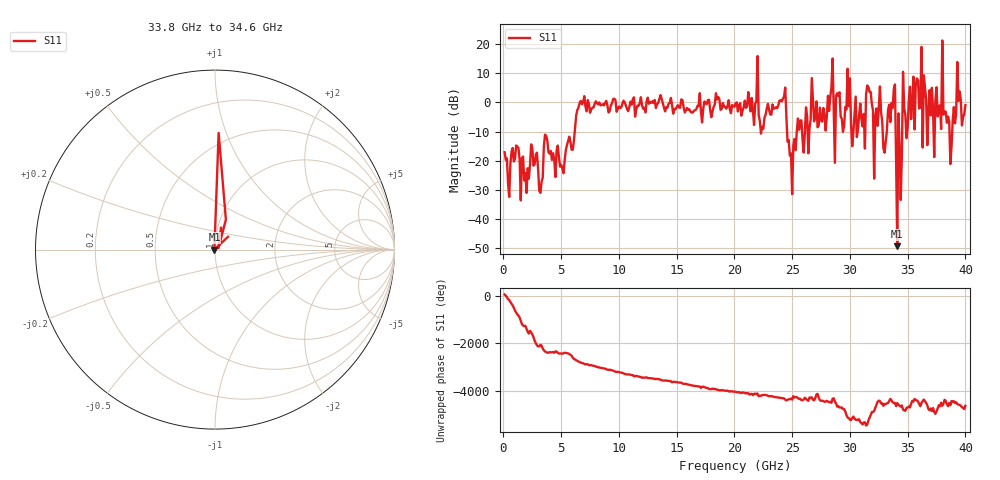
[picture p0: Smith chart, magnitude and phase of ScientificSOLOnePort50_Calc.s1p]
# MHz MA S R 50.0
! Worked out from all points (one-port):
!   400 points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, 100 MHz to 40 GHz, reference 50 ohm
!   lowest |S11| = -49.4 dB at 34.1 GHz (marker M1), VSWR 1.01, Z = 49.7 + j0.0297 ohm
!   |S11| at or under -10 dB: start of sweep to 6.175 GHz; 24.56 GHz to 25.4 GHz (840 MHz wide, 3.36 % of centre); 25.86 GHz to 26.1 GHz (245.8 MHz wide, 0.946 % of centre) (the widest 3 of 19)
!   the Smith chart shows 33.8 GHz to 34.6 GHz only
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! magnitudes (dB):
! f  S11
! 100 MHz  -17.1
! 5.1 GHz  -22.6
! 10.1 GHz  -1.9
! 15.1 GHz  -0.9
! 20.1 GHz  -0.3
! 22 GHz  16.0
! 22.3 GHz  -10.7
! 25.1 GHz  -14.8
! 28.5 GHz  15.1
! 28.7 GHz  -20.7
! 28.8 GHz  2.3
! 30.1 GHz  -7.7
! 31.8 GHz  3.6
! 32.1 GHz  -26.2
! 32.6 GHz  5.5
! 33 GHz  -17.2
! 33.9 GHz  6.2
! 34.1 GHz  -49.4
! 34.2 GHz  -3.7
! 34.4 GHz  -33.5
! 34.6 GHz  10.5
! 35.1 GHz  0.7
! 36.2 GHz  19.1
! 36.3 GHz  -15.5
! 37.3 GHz  -18.8
! 38 GHz  21.3
! 38.7 GHz  -21.2
! 40 GHz  -0.9
